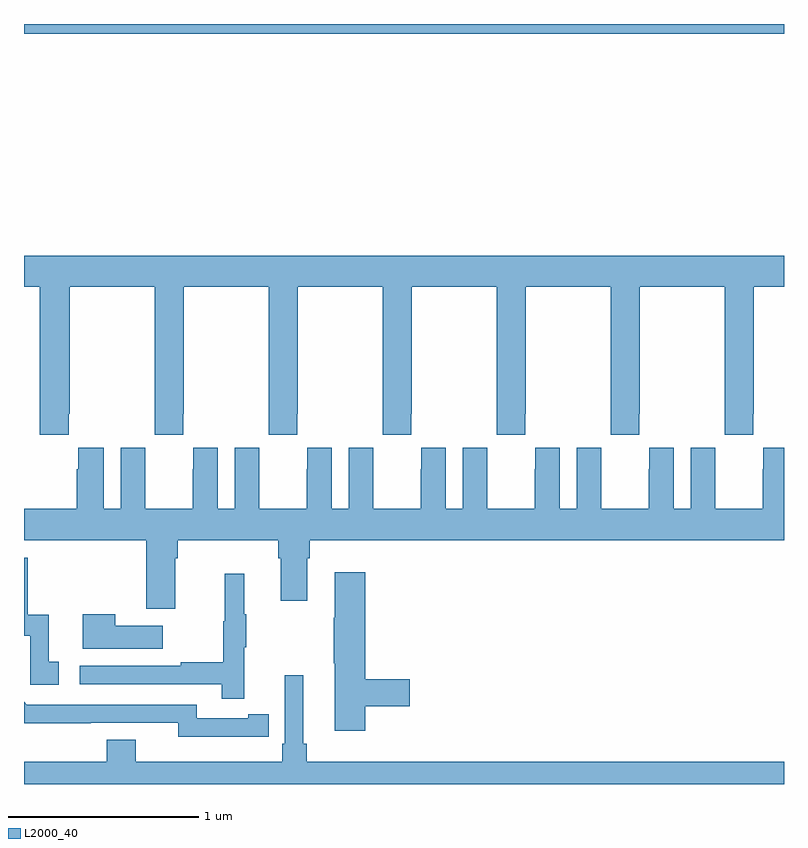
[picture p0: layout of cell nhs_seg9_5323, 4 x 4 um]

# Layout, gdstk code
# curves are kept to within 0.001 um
import gdstk
lib = gdstk.Library(unit=1e-6, precision=1e-09)
def R(c, l, rs):  # rectangles x0, y0, x1, y1
    for r in rs: c.add(gdstk.rectangle(r[:2], r[2:], *l))
def P(c, l, *ps):  # polygons
    for p in ps: c.add(gdstk.Polygon(p, *l))
L2000_40 = (2000, 40)

nhs_seg9_5323 = lib.new_cell('nhs_seg9_5323')
R(nhs_seg9_5323, L2000_40, [(421,1168.448,425,1168.5)])
P(nhs_seg9_5323, L2000_40, [(421,1167.116),(421.082,1167.116),(421.082,1166.337),(421.235,1166.337),(421.235,1166.449),(421.242,1166.449),(421.242,1167.116),(421.687,1167.116),(421.687,1166.449),(421.689,1166.449),(421.689,1166.337),(421.839,1166.337),(421.839,1166.449),(421.842,1166.449),(421.842,1167.116),(422.287,1167.116),(422.287,1166.449),(422.289,1166.449),(422.289,1166.337),(422.439,1166.337),(422.439,1166.449),(422.442,1166.449),(422.442,1167.116),(422.887,1167.116),(422.887,1166.449),(422.889,1166.449),(422.889,1166.337),(423.039,1166.337),(423.039,1166.449),(423.042,1166.449),(423.042,1167.116),(423.487,1167.116),(423.487,1166.449),(423.489,1166.449),(423.489,1166.337),(423.639,1166.337),(423.639,1166.449),(423.642,1166.449),(423.642,1167.116),(424.087,1167.116),(424.087,1166.449),(424.089,1166.449),(424.089,1166.337),(424.239,1166.337),(424.239,1166.449),(424.242,1166.449),(424.242,1167.116),(424.687,1167.116),(424.687,1166.449),(424.689,1166.449),(424.689,1166.337),(424.839,1166.337),(424.839,1166.449),(424.842,1166.449),(424.842,1167.116),(425,1167.116),(425,1167.28),(421,1167.28)],
  [(421.795,1165.688),(421.808,1165.688),(421.808,1165.784),(422.339,1165.784),(422.339,1165.688),(422.351,1165.688),(422.351,1165.464),(422.491,1165.464),(422.491,1165.688),(422.504,1165.688),(422.504,1165.784),(425,1165.784),(425,1166.269),(424.89,1166.269),(424.89,1166.156),(424.889,1166.156),(424.889,1165.948),(424.639,1165.948),(424.639,1166.156),(424.638,1166.156),(424.638,1166.269),(424.508,1166.269),(424.508,1165.948),(424.42,1165.948),(424.42,1166.269),(424.29,1166.269),(424.29,1166.156),(424.289,1166.156),(424.289,1165.948),(424.039,1165.948),(424.039,1166.156),(424.038,1166.156),(424.038,1166.269),(423.908,1166.269),(423.908,1165.948),(423.82,1165.948),(423.82,1166.269),(423.69,1166.269),(423.69,1166.156),(423.689,1166.156),(423.689,1165.948),(423.439,1165.948),(423.439,1166.156),(423.438,1166.156),(423.438,1166.269),(423.308,1166.269),(423.308,1165.948),(423.22,1165.948),(423.22,1166.269),(423.09,1166.269),(423.09,1166.156),(423.089,1166.156),(423.089,1165.948),(422.839,1165.948),(422.839,1166.156),(422.838,1166.156),(422.838,1166.269),(422.708,1166.269),(422.708,1165.948),(422.62,1165.948),(422.62,1166.269),(422.49,1166.269),(422.49,1166.156),(422.489,1166.156),(422.489,1165.948),(422.239,1165.948),(422.239,1166.156),(422.238,1166.156),(422.238,1166.269),(422.108,1166.269),(422.108,1165.948),(422.02,1165.948),(422.02,1166.269),(421.89,1166.269),(421.89,1166.156),(421.889,1166.156),(421.889,1165.948),(421.639,1165.948),(421.639,1166.156),(421.638,1166.156),(421.638,1166.269),(421.508,1166.269),(421.508,1165.948),(421.42,1165.948),(421.42,1166.269),(421.286,1166.269),(421.286,1166.156),(421.277,1166.156),(421.277,1165.948),(421,1165.948),(421,1165.784),(421.643,1165.784),(421.643,1165.422),(421.795,1165.422)],
  [(421.183,1165.143),(421.13,1165.143),(421.13,1165.39),(421.019,1165.39),(421.019,1165.692),(421,1165.692),(421,1165.281),(421.032,1165.281),(421.032,1165.023),(421.183,1165.023)],
  [(422.795,1164.91),(423.031,1164.91),(423.031,1165.052),(422.795,1165.052),(422.795,1165.615),(422.636,1165.615),(422.636,1165.376),(422.629,1165.376),(422.629,1165.135),(422.636,1165.135),(422.636,1164.78),(422.795,1164.78)],
  [(422.159,1165.219),(422.17,1165.219),(422.17,1165.393),(422.159,1165.393),(422.159,1165.606),(422.056,1165.606),(422.056,1165.356),(422.049,1165.356),(422.049,1165.142),(421.825,1165.142),(421.825,1165.122),(421.293,1165.122),(421.293,1165.026),(422.041,1165.026),(422.041,1164.948),(422.159,1164.948)],
  [(421.729,1165.333),(421.481,1165.333),(421.481,1165.393),(421.31,1165.393),(421.31,1165.211),(421.729,1165.211)],
  [(425,1164.616),(422.489,1164.616),(422.489,1164.712),(422.47,1164.712),(422.47,1165.072),(422.373,1165.072),(422.373,1164.712),(422.36,1164.712),(422.36,1164.616),(421.588,1164.616),(421.588,1164.733),(421.436,1164.733),(421.436,1164.616),(421,1164.616),(421,1164.5),(425,1164.5)],
  [(422.18,1164.75),(422.288,1164.75),(422.288,1164.866),(422.18,1164.866),(422.18,1164.846),(421.908,1164.846),(421.908,1164.918),(421.014,1164.918),(421,1164.932),(421,1164.821),(421.812,1164.822),(421.812,1164.749)])

lib.write_gds('nhs_seg9_5323.gds')
